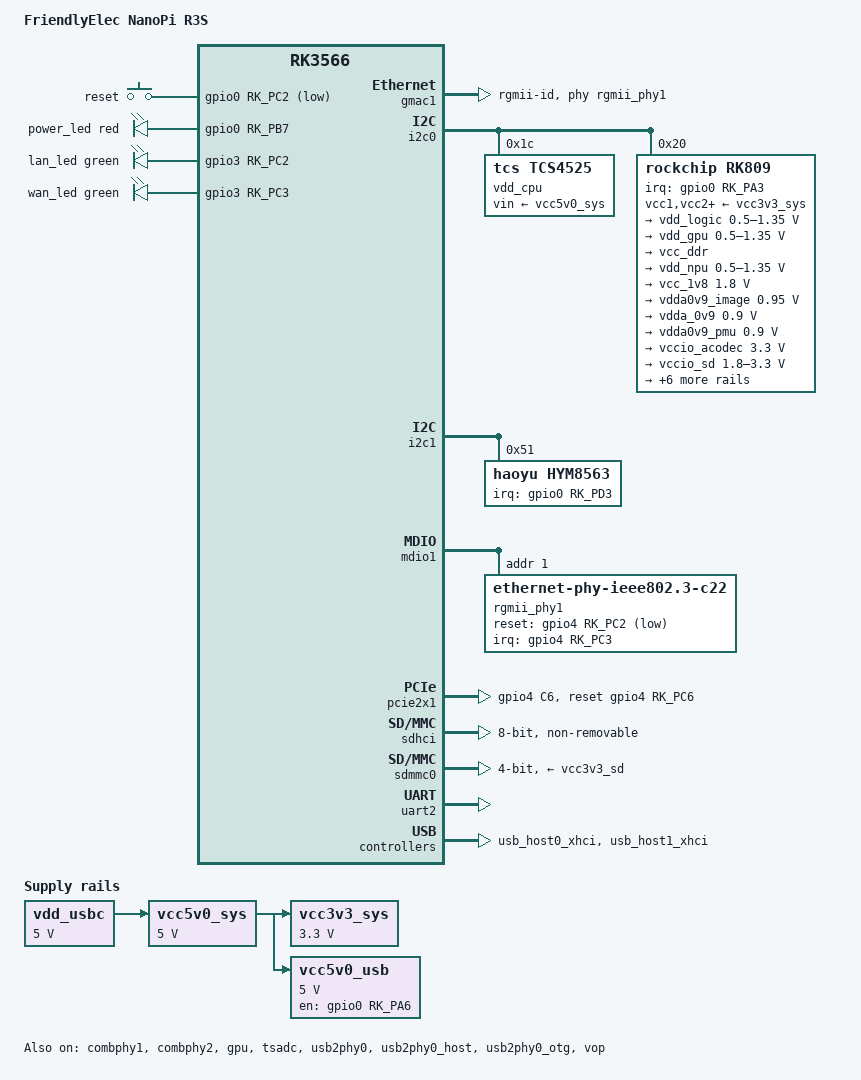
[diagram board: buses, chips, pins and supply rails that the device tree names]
// SPDX-License-Identifier: GPL-2.0-or-later OR MIT
/*
 * Copyright (c) 2020 Rockchip Electronics Co., Ltd.
 *
 * Copyright (c) 2024 FriendlyElec Computer Tech. Co., Ltd.
 * (http://www.friendlyelec.com)
 *
 * Copyright (c) 2024 Tianling Shen <cnsztl@gmail.com>
 */

/dts-v1/;
#include <dt-bindings/gpio/gpio.h>
#include <dt-bindings/input/input.h>
#include <dt-bindings/leds/common.h>
#include <dt-bindings/pinctrl/rockchip.h>
#include <dt-bindings/soc/rockchip,vop2.h>
#include "rk3566.dtsi"

/ {
	model = "FriendlyElec NanoPi R3S";
	compatible = "friendlyarm,nanopi-r3s", "rockchip,rk3566";

	aliases {
		ethernet0 = &gmac1;
		mmc0 = &sdhci;
		mmc1 = &sdmmc0;
	};

	chosen: chosen {
		stdout-path = "serial2:1500000n8";
	};

	gpio-keys {
		compatible = "gpio-keys";
		pinctrl-names = "default";
		pinctrl-0 = <&reset_button_pin>;

		button-reset {
			label = "reset";
			gpios = <&gpio0 RK_PC2 GPIO_ACTIVE_LOW>;
			linux,code = <KEY_RESTART>;
			debounce-interval = <50>;
		};
	};

	gpio-leds {
		compatible = "gpio-leds";
		pinctrl-names = "default";
		pinctrl-0 = <&power_led_pin>, <&lan_led_pin>, <&wan_led_pin>;

		power_led: led-0 {
			color = <LED_COLOR_ID_RED>;
			function = LED_FUNCTION_POWER;
			gpios = <&gpio0 RK_PB7 GPIO_ACTIVE_HIGH>;
			default-state = "on";
		};

		lan_led: led-1 {
			color = <LED_COLOR_ID_GREEN>;
			function = LED_FUNCTION_LAN;
			gpios = <&gpio3 RK_PC2 GPIO_ACTIVE_HIGH>;
		};

		wan_led: led-2 {
			color = <LED_COLOR_ID_GREEN>;
			function = LED_FUNCTION_WAN;
			gpios = <&gpio3 RK_PC3 GPIO_ACTIVE_HIGH>;
		};
	};

	vcc3v3_sys: regulator-vcc3v3-sys {
		compatible = "regulator-fixed";
		regulator-name = "vcc3v3_sys";
		regulator-always-on;
		regulator-boot-on;
		regulator-min-microvolt = <3300000>;
		regulator-max-microvolt = <3300000>;
		vin-supply = <&vcc5v0_sys>;
	};

	vcc5v0_sys: regulator-vcc5v0-sys {
		compatible = "regulator-fixed";
		regulator-name = "vcc5v0_sys";
		regulator-always-on;
		regulator-boot-on;
		regulator-min-microvolt = <5000000>;
		regulator-max-microvolt = <5000000>;
		vin-supply = <&vdd_usbc>;
	};

	vcc5v0_usb: regulator-vcc5v0_usb {
		compatible = "regulator-fixed";
		enable-active-high;
		gpio = <&gpio0 RK_PA6 GPIO_ACTIVE_HIGH>;
		pinctrl-names = "default";
		pinctrl-0 = <&vcc5v0_usb_host_en>;
		regulator-name = "vcc5v0_usb";
		regulator-always-on;
		regulator-boot-on;
		regulator-min-microvolt = <5000000>;
		regulator-max-microvolt = <5000000>;
		vin-supply = <&vcc5v0_sys>;
	};

	vdd_usbc: regulator-vdd-usbc {
		compatible = "regulator-fixed";
		regulator-name = "vdd_usbc";
		regulator-always-on;
		regulator-boot-on;
		regulator-min-microvolt = <5000000>;
		regulator-max-microvolt = <5000000>;
	};
};

&combphy1 {
	status = "okay";
};

&combphy2 {
	status = "okay";
};

&cpu0 {
	cpu-supply = <&vdd_cpu>;
};

&cpu1 {
	cpu-supply = <&vdd_cpu>;
};

&cpu2 {
	cpu-supply = <&vdd_cpu>;
};

&cpu3 {
	cpu-supply = <&vdd_cpu>;
};

&gmac1 {
	assigned-clocks = <&cru SCLK_GMAC1_RX_TX>, <&cru SCLK_GMAC1>;
	assigned-clock-parents = <&cru SCLK_GMAC1_RGMII_SPEED>, <&cru CLK_MAC1_2TOP>;
	assigned-clock-rates = <0>, <125000000>;
	clock_in_out = "output";
	phy-mode = "rgmii-id";
	phy-handle = <&rgmii_phy1>;
	pinctrl-names = "default";
	pinctrl-0 = <&gmac1m0_miim
		     &gmac1m0_tx_bus2_level3
		     &gmac1m0_rx_bus2
		     &gmac1m0_rgmii_clk_level2
		     &gmac1m0_rgmii_bus_level3>;
	status = "okay";
};

&gpu {
	mali-supply = <&vdd_gpu>;
	status = "okay";
};

&i2c0 {
	status = "okay";

	vdd_cpu: regulator@1c {
		compatible = "tcs,tcs4525";
		reg = <0x1c>;
		fcs,suspend-voltage-selector = <1>;
		regulator-name = "vdd_cpu";
		regulator-always-on;
		regulator-boot-on;
		regulator-min-microvolt = <800000>;
		regulator-max-microvolt = <1150000>;
		regulator-ramp-delay = <2300>;
		vin-supply = <&vcc5v0_sys>;

		regulator-state-mem {
			regulator-off-in-suspend;
		};
	};

	rk809: pmic@20 {
		compatible = "rockchip,rk809";
		reg = <0x20>;
		interrupt-parent = <&gpio0>;
		interrupts = <RK_PA3 IRQ_TYPE_LEVEL_LOW>;
		#clock-cells = <1>;
		pinctrl-names = "default";
		pinctrl-0 = <&pmic_int>;
		system-power-controller;
		vcc1-supply = <&vcc3v3_sys>;
		vcc2-supply = <&vcc3v3_sys>;
		vcc3-supply = <&vcc3v3_sys>;
		vcc4-supply = <&vcc3v3_sys>;
		vcc5-supply = <&vcc3v3_sys>;
		vcc6-supply = <&vcc3v3_sys>;
		vcc7-supply = <&vcc3v3_sys>;
		vcc8-supply = <&vcc3v3_sys>;
		vcc9-supply = <&vcc3v3_sys>;
		wakeup-source;

		regulators {
			vdd_logic: DCDC_REG1 {
				regulator-name = "vdd_logic";
				regulator-always-on;
				regulator-boot-on;
				regulator-initial-mode = <0x2>;
				regulator-min-microvolt = <500000>;
				regulator-max-microvolt = <1350000>;
				regulator-ramp-delay = <6001>;

				regulator-state-mem {
					regulator-off-in-suspend;
				};
			};

			vdd_gpu: DCDC_REG2 {
				regulator-name = "vdd_gpu";
				regulator-always-on;
				regulator-initial-mode = <0x2>;
				regulator-min-microvolt = <500000>;
				regulator-max-microvolt = <1350000>;
				regulator-ramp-delay = <6001>;

				regulator-state-mem {
					regulator-off-in-suspend;
				};
			};

			vcc_ddr: DCDC_REG3 {
				regulator-name = "vcc_ddr";
				regulator-always-on;
				regulator-boot-on;
				regulator-initial-mode = <0x2>;

				regulator-state-mem {
					regulator-on-in-suspend;
				};
			};

			vdd_npu: DCDC_REG4 {
				regulator-name = "vdd_npu";
				regulator-initial-mode = <0x2>;
				regulator-min-microvolt = <500000>;
				regulator-max-microvolt = <1350000>;
				regulator-ramp-delay = <6001>;

				regulator-state-mem {
					regulator-off-in-suspend;
				};
			};

			vcc_1v8: DCDC_REG5 {
				regulator-name = "vcc_1v8";
				regulator-always-on;
				regulator-boot-on;
				regulator-min-microvolt = <1800000>;
				regulator-max-microvolt = <1800000>;

				regulator-state-mem {
					regulator-off-in-suspend;
				};
			};

			vdda0v9_image: LDO_REG1 {
				regulator-name = "vdda0v9_image";
				regulator-min-microvolt = <950000>;
				regulator-max-microvolt = <950000>;

				regulator-state-mem {
					regulator-off-in-suspend;
				};
			};

			vdda_0v9: LDO_REG2 {
				regulator-name = "vdda_0v9";
				regulator-always-on;
				regulator-boot-on;
				regulator-min-microvolt = <900000>;
				regulator-max-microvolt = <900000>;

				regulator-state-mem {
					regulator-off-in-suspend;
				};
			};

			vdda0v9_pmu: LDO_REG3 {
				regulator-name = "vdda0v9_pmu";
				regulator-always-on;
				regulator-boot-on;
				regulator-min-microvolt = <900000>;
				regulator-max-microvolt = <900000>;

				regulator-state-mem {
					regulator-on-in-suspend;
					regulator-suspend-microvolt = <900000>;
				};
			};

			vccio_acodec: LDO_REG4 {
				regulator-name = "vccio_acodec";
				regulator-min-microvolt = <3300000>;
				regulator-max-microvolt = <3300000>;

				regulator-state-mem {
					regulator-off-in-suspend;
				};
			};

			vccio_sd: LDO_REG5 {
				regulator-name = "vccio_sd";
				regulator-min-microvolt = <1800000>;
				regulator-max-microvolt = <3300000>;

				regulator-state-mem {
					regulator-off-in-suspend;
				};
			};

			vcc3v3_pmu: LDO_REG6 {
				regulator-name = "vcc3v3_pmu";
				regulator-always-on;
				regulator-boot-on;
				regulator-min-microvolt = <3300000>;
				regulator-max-microvolt = <3300000>;

				regulator-state-mem {
					regulator-on-in-suspend;
					regulator-suspend-microvolt = <3300000>;
				};
			};

			vcca_1v8: LDO_REG7 {
				regulator-name = "vcca_1v8";
				regulator-always-on;
				regulator-boot-on;
				regulator-min-microvolt = <1800000>;
				regulator-max-microvolt = <1800000>;

				regulator-state-mem {
					regulator-off-in-suspend;
				};
			};

			vcca1v8_pmu: LDO_REG8 {
				regulator-name = "vcca1v8_pmu";
				regulator-always-on;
				regulator-boot-on;
				regulator-min-microvolt = <1800000>;
				regulator-max-microvolt = <1800000>;

				regulator-state-mem {
					regulator-on-in-suspend;
					regulator-suspend-microvolt = <1800000>;
				};
			};

			vcca1v8_image: LDO_REG9 {
				regulator-name = "vcca1v8_image";
				regulator-min-microvolt = <1800000>;
				regulator-max-microvolt = <1800000>;

				regulator-state-mem {
					regulator-off-in-suspend;
				};
			};

			vcc_3v3: SWITCH_REG1 {
				regulator-name = "vcc_3v3";
				regulator-always-on;
				regulator-boot-on;

				regulator-state-mem {
					regulator-off-in-suspend;
				};
			};

			vcc3v3_sd: SWITCH_REG2 {
				regulator-name = "vcc3v3_sd";
				regulator-always-on;
				regulator-boot-on;

				regulator-state-mem {
					regulator-off-in-suspend;
				};
			};
		};
	};
};

&i2c1 {
	status = "okay";

	hym8563: rtc@51 {
		compatible = "haoyu,hym8563";
		reg = <0x51>;
		#clock-cells = <0>;
		clock-output-names = "hym8563";
		pinctrl-names = "default";
		pinctrl-0 = <&hym8563_int>;
		interrupt-parent = <&gpio0>;
		interrupts = <RK_PD3 IRQ_TYPE_LEVEL_LOW>;
		wakeup-source;
	};
};

&mdio1 {
	rgmii_phy1: ethernet-phy@1 {
		compatible = "ethernet-phy-ieee802.3-c22";
		reg = <1>;
		interrupt-parent = <&gpio4>;
		interrupts = <RK_PC3 IRQ_TYPE_LEVEL_LOW>;
		pinctrl-names = "default";
		pinctrl-0 = <&eth_phy_reset_pin>;
		reset-assert-us = <20000>;
		reset-deassert-us = <100000>;
		reset-gpios = <&gpio4 RK_PC2 GPIO_ACTIVE_LOW>;
	};
};

&pcie2x1 {
	pinctrl-names = "default";
	pinctrl-0 = <&pcie_reset_h>;
	reset-gpios = <&gpio4 RK_PC6 GPIO_ACTIVE_HIGH>;
	status = "okay";
};

&pinctrl {
	gpio-leds {
		lan_led_pin: lan-led-pin {
			rockchip,pins = <3 RK_PC2 RK_FUNC_GPIO &pcfg_pull_none>;
		};

		power_led_pin: power-led-pin {
			rockchip,pins = <0 RK_PB7 RK_FUNC_GPIO &pcfg_pull_none>;
		};

		wan_led_pin: wan-led-pin {
			rockchip,pins = <3 RK_PC3 RK_FUNC_GPIO &pcfg_pull_none>;
		};
	};

	gmac {
		eth_phy_reset_pin: eth-phy-reset-pin {
			rockchip,pins = <4 RK_PC2 RK_FUNC_GPIO &pcfg_pull_up>;
		};
	};

	pcie {
		pcie_reset_h: pcie-reset-h {
			rockchip,pins = <4 RK_PC6 RK_FUNC_GPIO &pcfg_pull_down>;
		};
	};

	pmic {
		pmic_int: pmic-int {
			rockchip,pins = <0 RK_PA3 RK_FUNC_GPIO &pcfg_pull_up>;
		};
	};

	rockchip-key {
		reset_button_pin: reset-button-pin {
			rockchip,pins = <0 RK_PC2 RK_FUNC_GPIO &pcfg_pull_up>;
		};
	};

	rtc {
		hym8563_int: hym8563-int {
			rockchip,pins = <0 RK_PD3 RK_FUNC_GPIO &pcfg_pull_up>;
		};
	};

	usb {
		vcc5v0_usb_host_en: vcc5v0-usb-host-en {
			rockchip,pins = <0 RK_PA6 RK_FUNC_GPIO &pcfg_pull_none>;
		};
	};
};

&pmu_io_domains {
	pmuio1-supply = <&vcc3v3_pmu>;
	pmuio2-supply = <&vcc3v3_pmu>;
	vccio1-supply = <&vccio_acodec>;
	vccio2-supply = <&vcc_1v8>;
	vccio3-supply = <&vccio_sd>;
	vccio4-supply = <&vcc_3v3>;
	vccio5-supply = <&vcc_1v8>;
	vccio6-supply = <&vcc_3v3>;
	vccio7-supply = <&vcc_3v3>;
	status = "okay";
};

&sdhci {
	bus-width = <8>;
	max-frequency = <200000000>;
	mmc-hs200-1_8v;
	non-removable;
	pinctrl-names = "default";
	pinctrl-0 = <&emmc_bus8 &emmc_clk &emmc_cmd &emmc_datastrobe>;
	status = "okay";
};

&sdmmc0 {
	bus-width = <4>;
	cap-mmc-highspeed;
	cap-sd-highspeed;
	disable-wp;
	no-sdio;
	no-mmc;
	pinctrl-names = "default";
	pinctrl-0 = <&sdmmc0_bus4 &sdmmc0_clk &sdmmc0_cmd &sdmmc0_det>;
	sd-uhs-sdr50;
	vmmc-supply = <&vcc3v3_sd>;
	vqmmc-supply = <&vccio_sd>;
	status = "okay";
};

&tsadc {
	status = "okay";
};

&uart2 {
	status = "okay";
};

&usb2phy0 {
	status = "okay";
};

&usb2phy0_host {
	phy-supply = <&vcc5v0_usb>;
	status = "okay";
};

&usb2phy0_otg {
	status = "okay";
};

&usb_host0_xhci {
	extcon = <&usb2phy0>;
	status = "okay";
};

&usb_host1_xhci {
	status = "okay";
};

&vop {
	assigned-clocks = <&cru DCLK_VOP0>, <&cru DCLK_VOP1>;
	assigned-clock-parents = <&pmucru PLL_HPLL>, <&cru PLL_VPLL>;
	status = "okay";
};

&vop_mmu {
	status = "okay";
};
